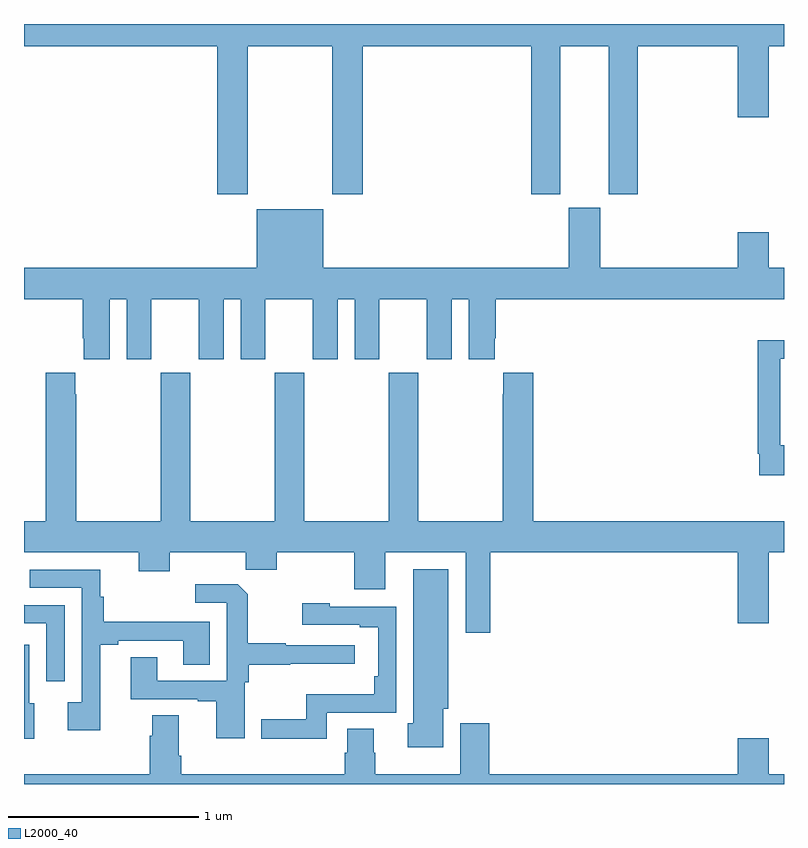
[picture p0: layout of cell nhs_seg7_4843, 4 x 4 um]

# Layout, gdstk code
import gdstk
lib = gdstk.Library(unit=1e-6, precision=1e-09)
def P(c, l, *ps):  # polygons
    for p in ps: c.add(gdstk.Polygon(p, *l))
L2000_40 = (2000, 40)

nhs_seg7_4843 = lib.new_cell('nhs_seg7_4843')
P(nhs_seg7_4843, L2000_40, [(414.177,1065.884),(414.622,1065.884),(414.622,1065.105),(414.782,1065.105),(414.782,1065.884),(415.67,1065.884),(415.67,1065.105),(415.822,1065.105),(415.822,1065.884),(416.078,1065.884),(416.078,1065.105),(416.231,1065.105),(416.231,1065.884),(416.756,1065.884),(416.756,1065.51),(416.92,1065.51),(416.92,1065.884),(417,1065.884),(417,1066),(413,1066),(413,1065.884),(414.017,1065.884),(414.017,1065.105),(414.177,1065.105)],
  [(413.452,1064.552),(413.54,1064.552),(413.54,1064.235),(413.671,1064.235),(413.671,1064.552),(413.921,1064.552),(413.921,1064.235),(414.052,1064.235),(414.052,1064.552),(414.14,1064.552),(414.14,1064.235),(414.271,1064.235),(414.271,1064.552),(414.521,1064.552),(414.521,1064.235),(414.652,1064.235),(414.652,1064.552),(414.74,1064.552),(414.74,1064.235),(414.871,1064.235),(414.871,1064.552),(415.121,1064.552),(415.121,1064.235),(415.252,1064.235),(415.252,1064.552),(415.34,1064.552),(415.34,1064.235),(415.477,1064.235),(415.477,1064.347),(415.484,1064.347),(415.484,1064.552),(417,1064.552),(417,1064.716),(416.92,1064.716),(416.92,1064.905),(416.756,1064.905),(416.756,1064.716),(416.032,1064.716),(416.032,1065.033),(415.868,1065.033),(415.868,1064.716),(414.574,1064.716),(414.574,1065.025),(414.224,1065.025),(414.224,1064.716),(413,1064.716),(413,1064.552),(413.309,1064.552),(413.309,1064.347),(413.315,1064.347),(413.315,1064.235),(413.452,1064.235)],
  [(417,1063.782),(416.979,1063.782),(416.979,1064.238),(417,1064.238),(417,1064.336),(416.863,1064.336),(416.863,1063.738),(416.871,1063.738),(416.871,1063.626),(417,1063.626)],
  [(415.454,1063.22),(416.756,1063.22),(416.756,1062.846),(416.92,1062.846),(416.92,1063.22),(417,1063.22),(417,1063.384),(415.679,1063.384),(415.679,1064.164),(415.523,1064.164),(415.523,1064.051),(415.519,1064.051),(415.519,1063.384),(415.074,1063.384),(415.074,1064.164),(414.919,1064.164),(414.919,1063.384),(414.474,1063.384),(414.474,1064.164),(414.319,1064.164),(414.319,1063.384),(413.874,1063.384),(413.874,1064.164),(413.719,1064.164),(413.719,1063.384),(413.274,1063.384),(413.274,1064.051),(413.269,1064.051),(413.269,1064.164),(413.114,1064.164),(413.114,1063.384),(413,1063.384),(413,1063.22),(413.603,1063.22),(413.603,1063.121),(413.767,1063.121),(413.767,1063.22),(414.167,1063.22),(414.167,1063.127),(414.331,1063.127),(414.331,1063.22),(414.737,1063.22),(414.737,1063.026),(414.901,1063.026),(414.901,1063.22),(415.325,1063.22),(415.325,1062.795),(415.454,1062.795)],
  [(415.207,1062.396),(415.234,1062.396),(415.234,1063.129),(415.049,1063.129),(415.049,1062.32),(415.019,1062.32),(415.019,1062.194),(415.207,1062.194)],
  [(413.401,1062.733),(413.497,1062.733),(413.497,1062.753),(413.837,1062.753),(413.837,1062.628),(413.977,1062.628),(413.977,1062.854),(413.42,1062.854),(413.42,1062.986),(413.402,1062.986),(413.402,1063.128),(413.031,1063.128),(413.031,1063.032),(413.304,1063.032),(413.304,1062.43),(413.229,1062.43),(413.229,1062.282),(413.401,1062.282)],
  [(414.162,1062.536),(414.182,1062.536),(414.182,1062.628),(414.401,1062.628),(414.401,1062.632),(414.742,1062.632),(414.742,1062.729),(414.377,1062.729),(414.377,1062.742),(414.177,1062.742),(414.177,1062.999),(414.125,1063.051),(413.901,1063.051),(413.901,1062.954),(414.066,1062.954),(414.066,1062.543),(413.701,1062.543),(413.701,1062.668),(413.561,1062.668),(413.561,1062.447),(413.915,1062.447),(413.915,1062.435),(414.011,1062.435),(414.011,1062.24),(414.162,1062.24)],
  [(414.594,1062.375),(414.96,1062.375),(414.96,1062.933),(414.609,1062.933),(414.609,1062.952),(414.465,1062.952),(414.465,1062.837),(414.767,1062.837),(414.767,1062.825),(414.864,1062.825),(414.864,1062.568),(414.844,1062.568),(414.844,1062.472),(414.486,1062.472),(414.486,1062.341),(414.249,1062.341),(414.249,1062.239),(414.594,1062.239)],
  [(413.214,1062.942),(413.001,1062.942),(413,1062.943),(413,1062.846),(413.118,1062.846),(413.118,1062.54),(413.214,1062.54)],
  [(413.053,1062.426),(413.028,1062.426),(413.028,1062.732),(413,1062.732),(413,1062.239),(413.053,1062.239)],
  [(417,1062.052),(416.92,1062.052),(416.92,1062.241),(416.756,1062.241),(416.756,1062.052),(415.448,1062.052),(415.448,1062.319),(415.295,1062.319),(415.295,1062.052),(414.849,1062.052),(414.849,1062.165),(414.841,1062.165),(414.841,1062.29),(414.701,1062.29),(414.701,1062.165),(414.689,1062.165),(414.689,1062.052),(413.828,1062.052),(413.828,1062.148),(413.815,1062.148),(413.815,1062.362),(413.675,1062.362),(413.675,1062.254),(413.663,1062.254),(413.663,1062.052),(413,1062.052),(413,1062),(417,1062)])

lib.write_gds('nhs_seg7_4843.gds')
